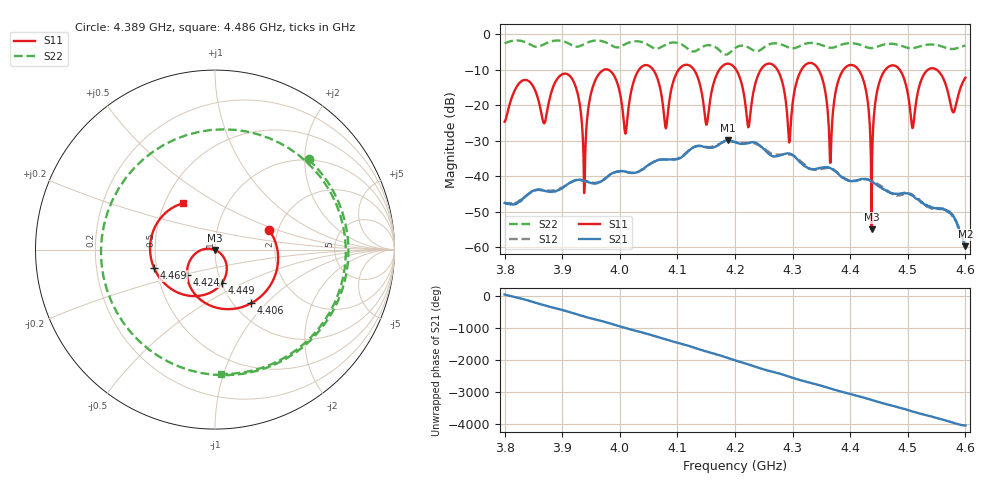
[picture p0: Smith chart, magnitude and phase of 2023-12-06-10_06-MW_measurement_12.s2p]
!Created with skrf (http://scikit-rf.org).
# Hz S RI R 50.0
!freq ReS11 ImS11 ReS21 ImS21 ReS12 ImS12 ReS22 ImS22
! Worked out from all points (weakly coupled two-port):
!   801 points, 3.8 GHz to 4.6 GHz, reference 50 ohm
!   highest |S21| = -29.89 dB at 4.188 GHz (marker M1); lowest = -59.7 dB at 4.6 GHz (marker M2)
!   lowest |S11| = -55.0 dB at 4.437 GHz (marker M3), VSWR 1.00, Z = 50 - j0.171 ohm
!   |S11| at or under -10 dB: start of sweep to 3.973 GHz; 3.979 GHz to 4.034 GHz (54.38 MHz wide, 1.36 % of centre); 4.55 GHz to end of sweep (the widest 3 of 10)
!   |S22| runs from -5.8 to -1.8 dB; largest |S21 - S12| = 0.0037
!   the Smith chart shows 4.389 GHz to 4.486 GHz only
!   S11 on the Smith chart (normalised r, x): 4.389 GHz: 1.79, +0.44; 4.406 GHz: 1.20, -0.82; 4.424 GHz: 0.71, -0.21; 4.449 GHz: 1.01, -0.38; 4.469 GHz: 0.48, -0.11; 4.486 GHz: 0.62, +0.35
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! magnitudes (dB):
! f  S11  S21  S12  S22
! 3.8 GHz  -24.7  -47.5  -47.6  -2.6
! 3.906 GHz  -11.2  -42.7  -42.6  -2.3
! 3.934 GHz  -24.7  -41.2  -41.1  -3.2
! 3.97 GHz  -10.3  -41.3  -41.3  -2.0
! 4.01 GHz  -28.1  -38.8  -38.7  -2.8
! 4.067 GHz  -13.3  -35.5  -35.5  -4.0
! 4.151 GHz  -25.5  -32.0  -31.8  -3.2
! 4.188 GHz  -8.4  -29.9  -30.2  -5.6
! 4.2 GHz  -9.6  -30.5  -30.4  -4.0
! 4.294 GHz  -30.5  -33.6  -33.9  -3.8
! 4.334 GHz  -8.2  -38.0  -38.1  -2.5
! 4.365 GHz  -36.3  -37.7  -37.8  -3.9
! 4.389 GHz  -9.9  -40.6  -40.6  -2.8
! 4.406 GHz  -8.9  -41.3  -41.3  -2.6
! 4.424 GHz  -13.6  -40.8  -40.8  -3.4
! 4.437 GHz  -55.0  -41.6  -41.3  -4.0
! 4.449 GHz  -14.5  -42.8  -42.3  -3.5
! 4.467 GHz  -9.2  -44.5  -44.3  -2.7
! 4.469 GHz  -9.0  -44.7  -44.6  -2.7
! 4.486 GHz  -10.1  -45.0  -45.4  -3.2
! 4.508 GHz  -26.5  -45.5  -45.2  -4.0
! 4.6 GHz  -12.3  -59.7  -59.5  -3.2
